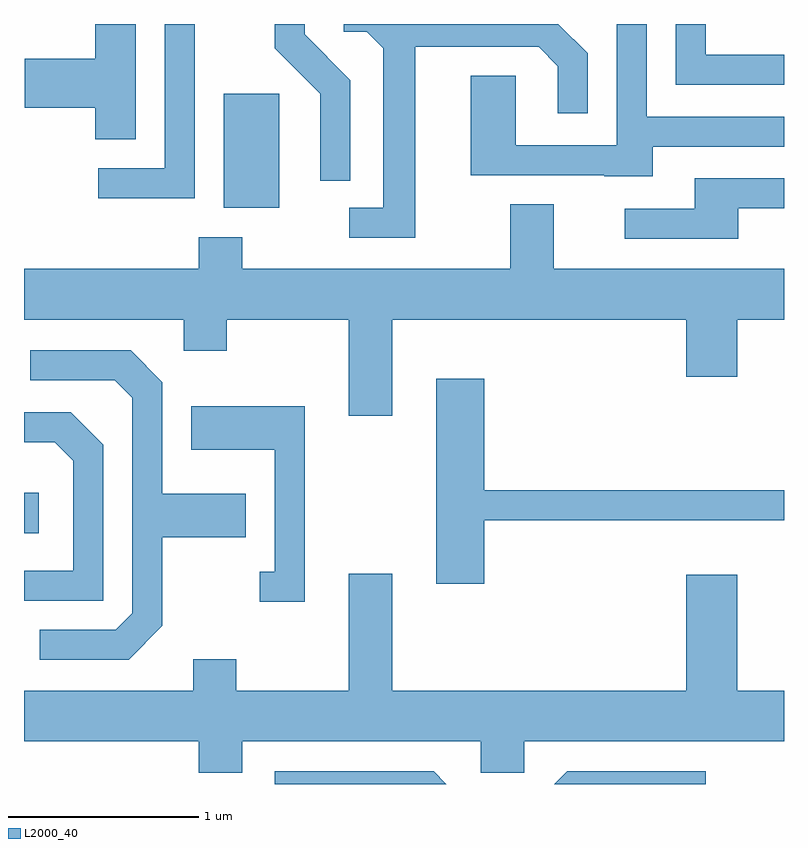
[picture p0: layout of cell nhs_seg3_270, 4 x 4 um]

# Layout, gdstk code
import gdstk
lib = gdstk.Library(unit=1e-6, precision=1e-09)
def R(c, l, rs):  # rectangles x0, y0, x1, y1
    for r in rs: c.add(gdstk.rectangle(r[:2], r[2:], *l))
def P(c, l, *ps):  # polygons
    for p in ps: c.add(gdstk.Polygon(p, *l))
L2000_40 = (2000, 40)

nhs_seg3_270 = lib.new_cell('nhs_seg3_270')
R(nhs_seg3_270, L2000_40, [(191.611,1249.211,191.689,1249.424), (192.661,1250.926,192.954,1251.524)])
P(nhs_seg3_270, L2000_40, [(192.199,1251.892),(191.986,1251.892),(191.986,1251.709),(191.616,1251.709),(191.616,1251.451),(191.986,1251.451),(191.986,1251.286),(192.199,1251.286)],
  [(195.611,1251.729),(195.199,1251.729),(195.199,1251.892),(195.041,1251.892),(195.041,1251.571),(195.611,1251.571)],
  [(193.329,1251.597),(193.089,1251.837),(193.089,1251.892),(192.931,1251.892),(192.931,1251.764),(193.171,1251.524),(193.171,1251.068),(193.329,1251.068)],
  [(192.509,1251.892),(192.351,1251.892),(192.351,1251.134),(192.003,1251.134),(192.003,1250.976),(192.509,1250.976)],
  [(194.919,1251.246),(195.611,1251.246),(195.611,1251.404),(194.889,1251.404),(194.889,1251.892),(194.731,1251.892),(194.731,1251.254),(194.199,1251.254),(194.199,1251.619),(193.961,1251.619),(193.961,1251.096),(194.665,1251.096),(194.665,1251.091),(194.919,1251.091)],
  [(193.669,1251.771),(194.319,1251.771),(194.421,1251.669),(194.421,1251.423),(194.579,1251.423),(194.579,1251.737),(194.424,1251.892),(193.293,1251.892),(193.293,1251.851),(193.414,1251.851),(193.501,1251.764),(193.501,1250.924),(193.323,1250.924),(193.323,1250.766),(193.669,1250.766)],
  [(195.369,1250.921),(195.611,1250.921),(195.611,1251.079),(195.141,1251.079),(195.141,1250.919),(194.773,1250.919),(194.773,1250.761),(195.369,1250.761)],
  [(193.549,1250.336),(195.096,1250.336),(195.096,1250.036),(195.364,1250.036),(195.364,1250.336),(195.611,1250.336),(195.611,1250.604),(194.399,1250.604),(194.399,1250.944),(194.171,1250.944),(194.171,1250.604),(192.759,1250.604),(192.759,1250.769),(192.531,1250.769),(192.531,1250.604),(191.611,1250.604),(191.611,1250.336),(192.451,1250.336),(192.451,1250.171),(192.679,1250.171),(192.679,1250.336),(193.321,1250.336),(193.321,1249.831),(193.549,1249.831)],
  [(192.339,1248.724),(192.339,1249.191),(192.779,1249.191),(192.779,1249.419),(192.339,1249.419),(192.339,1250.007),(192.172,1250.174),(191.643,1250.174),(191.643,1250.016),(192.089,1250.016),(192.181,1249.924),(192.181,1248.792),(192.094,1248.704),(191.693,1248.704),(191.693,1248.546),(192.162,1248.546)],
  [(194.034,1249.281),(195.611,1249.281),(195.611,1249.439),(194.034,1249.439),(194.034,1250.024),(193.781,1250.024),(193.781,1248.946),(194.034,1248.946)],
  [(193.089,1249.879),(192.491,1249.879),(192.491,1249.651),(192.931,1249.651),(192.931,1249.009),(192.853,1249.009),(192.853,1248.851),(193.089,1248.851)],
  [(192.029,1249.677),(191.857,1249.849),(191.611,1249.849),(191.611,1249.691),(191.774,1249.691),(191.871,1249.594),(191.871,1249.014),(191.611,1249.014),(191.611,1248.856),(192.029,1248.856)],
  [(192.759,1248.116),(194.016,1248.116),(194.016,1247.951),(194.244,1247.951),(194.244,1248.116),(195.611,1248.116),(195.611,1248.384),(195.364,1248.384),(195.364,1248.994),(195.096,1248.994),(195.096,1248.384),(193.549,1248.384),(193.549,1248.999),(193.321,1248.999),(193.321,1248.384),(192.729,1248.384),(192.729,1248.549),(192.501,1248.549),(192.501,1248.384),(191.611,1248.384),(191.611,1248.116),(192.531,1248.116),(192.531,1247.951),(192.759,1247.951)],
  [(195.199,1247.959),(194.469,1247.959),(194.402,1247.892),(195.199,1247.892)],
  [(193.767,1247.959),(192.931,1247.959),(192.931,1247.892),(193.834,1247.892)])

lib.write_gds('nhs_seg3_270.gds')
